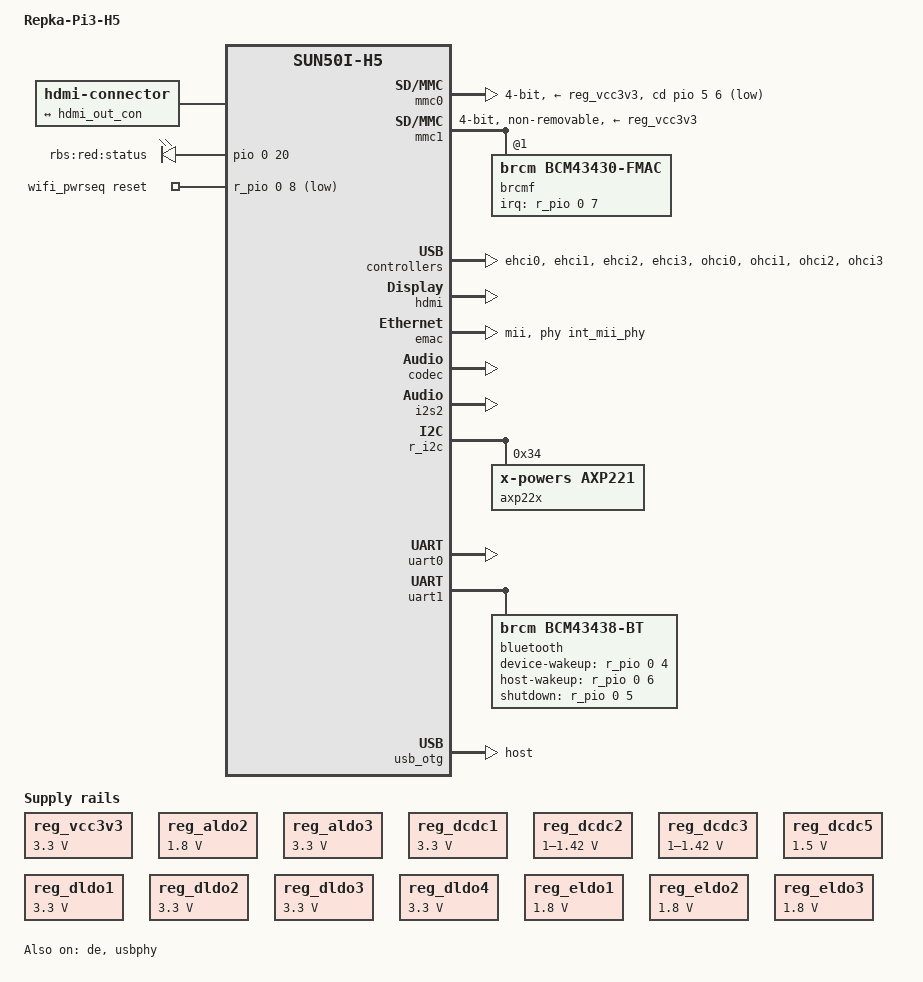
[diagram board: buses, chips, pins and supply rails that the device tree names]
// SPDX-License-Identifier: (GPL-2.0+ OR MIT)
// Copyright (C) 2016 ARM Ltd.

/dts-v1/;
#include "sun50i-h5.dtsi"
#include "sun50i-h5-repka-cpu-opp-1.368ghz.dtsi"

#include <dt-bindings/gpio/gpio.h>
#include <dt-bindings/input/input.h>
#include <dt-bindings/pinctrl/sun4i-a10.h>


/ {
	model = "Repka-Pi3-H5";
	option = "uboot";
	repka-freq = "1.368 GHz";
	repka-pinout = "1";
	repka-cooling = "1";
	compatible = "rbs,repka-pi3", "allwinner,sun50i-h5";

	reg_vcc3v3: vcc3v3 {
		compatible = "regulator-fixed";
		regulator-name = "vcc3v3";
		regulator-min-microvolt = <3300000>;
		regulator-max-microvolt = <3300000>;
	};

	aliases {
		ethernet0 = &emac;
		serial0 = &uart0;
		serial1 = &uart1;
		spi0 = &spi0;
		spi1 = &spi1;
		i2c1 = &i2c0;
		i2c2 = &i2c1;
		i2c3 = &r_i2c;
	};

	chosen {
		stdout-path = "serial0:115200n8";
	};

	connector {
		compatible = "hdmi-connector";
		type = "a";

		port {
			hdmi_con_in: endpoint {
				remote-endpoint = <&hdmi_out_con>;
			};
		};
	};

	leds {
		compatible = "gpio-leds";
		
		status {
			label = "rbs:red:status";
			gpios = <&pio 0 20 GPIO_ACTIVE_HIGH>;
			linux,default-trigger = "heartbeat";
		};
	};

	wifi_pwrseq: wifi_pwrseq {
		compatible = "mmc-pwrseq-simple";
		reset-gpios = <&r_pio 0 8 GPIO_ACTIVE_LOW>; 
		post-power-on-delay-ms = <255>;
	};

	scpi_protocol: scpi {
		compatible = "arm,scpi";
		mboxes = <&msgbox 2>, <&msgbox 3>;
		mbox-names = "tx", "rx";
		shmem = <&scpi_sram>;
	};

	sound_hdmi: sound_hdmi {
		compatible = "allwinner,sun9i-a80-hdmi-audio", "allwinner,sun8i-h3-hdmi-audio";
		status = "okay";
		codec {
			sound-dai = <&hdmi>;
		};
		cpu {
			sound-dai = <&i2s2>;
		};
	};

	///????
	tve: tv-encoder@1e40000 {
		compatible = "allwinner,sun50i-h5-tv-encoder";
		reg = <0x01e40000 0x1000>;
		clocks = <&ccu CLK_BUS_TVE>;
		resets = <&ccu RST_BUS_TVE>;
		status = "disabled";
		port {
			tve_in_tcon1: endpoint {
				remote-endpoint = <&tcon1_out_tve>;
			};
		};
	};

	soc {
		mixer1: mixer@1200000 {
			compatible = "allwinner,sun8i-h3-de2-mixer-1";
			reg = <0x01200000 0x100000>;
			clocks = <&display_clocks CLK_BUS_MIXER1>, <&display_clocks CLK_MIXER1>;
			clock-names = "bus", "mod";
			resets = <&display_clocks RST_MIXER1>;
			ports {
				#address-cells = <1>;
				#size-cells = <0>;
				mixer1_out: port@1 {
					#address-cells = <1>;
					#size-cells = <0>;
					reg = <1>;
					/delete-node/ endpoint;
					mixer1_out_tcon_0: endpoint@0 {
						reg = <0>;
						remote-endpoint = <&tcon0_in_mixer_1>;
					};

					mixer1_out_tcon_1: endpoint@1 {
						reg = <1>;
						remote-endpoint = <&tcon1_in_mixer_1>;
					};
				};	
			};
		}; //mixer1

		tcon1: lcd-controller@1c0d000 {
			compatible = "allwinner,sun8i-h3-tcon-tv", "allwinner,sun8i-a83t-tcon-tv";
			reg = <0x01c0d000 0x1000>;
			interrupts = <GIC_SPI 87 IRQ_TYPE_LEVEL_HIGH>;
			clocks = <&ccu CLK_BUS_TCON1>, <&ccu CLK_TVE>;
			clock-names = "ahb", "tcon-ch1";
			resets = <&ccu RST_BUS_TCON1>;
			reset-names = "lcd";
			ports {
				#address-cells = <1>;
				#size-cells = <0>;

				tcon1_in: port@0 {
					#address-cells = <1>;
					#size-cells = <0>;
					reg = <0>;

					tcon1_in_mixer_0: endpoint@0 {
						reg = <0>;
						remote-endpoint = <&mixer0_out_tcon_1>;
					};

					tcon1_in_mixer_1: endpoint@1 {
						reg = <1>;
						remote-endpoint = <&mixer1_out_tcon_1>;
					};
				};

				tcon1_out: port@1 {
					#address-cells = <1>;
					#size-cells = <0>;
					reg = <1>;

					tcon1_out_tve: endpoint@1 {
						reg = <1>;
						remote-endpoint = <&tve_in_tcon1>;
					};
				};
			};
		}; //tcon1i
	}; //soc
};


//
// SYSCON
//

&syscon {
	sram_a2: sram@40000 {
		compatible = "mmio-sram";
		reg = <0x00040000 0x14000>;
		#address-cells = <1>;
		#size-cells = <1>;
		ranges = <0 0x00040000 0x14000>;
		scpi_sram: scp-shmem@13c00 {
			compatible = "arm,scp-shmem";
			reg = <0x13c00 0x200>;
		};
	};
};


//
// MMCx
//

&mmc0 {
	vmmc-supply = <&reg_vcc3v3>;
	bus-width = <4>;
	cd-gpios = <&pio 5 6 GPIO_ACTIVE_LOW>; /* PF6 */
	status = "okay";
};

&mmc1 {
	vmmc-supply = <&reg_vcc3v3>;
	mmc-pwrseq = <&wifi_pwrseq>;
	bus-width = <4>;
	non-removable;
	status = "okay";
	brcmf: wifi@1 {
		reg = <1>;
		compatible = "brcm,bcm43430-fmac";
		interrupt-parent = <&r_pio>;
		interrupts = <0 7 IRQ_TYPE_LEVEL_LOW>;	/* PL7 */
		interrupt-names = "host-wake";
	};
};

&mmc2 {
	pinctrl-names = "default";
	pinctrl-0 = <&mmc2_8bit_pins>;
	vmmc-supply = <&reg_vcc3v3>;
	bus-width = <8>;
	non-removable;
	cap-mmc-hw-reset;
	status = "disabled";
};


//
// EHCIx
//

&ehci0 {
	status = "okay";
};

&ehci1 {
	status = "okay";
};

&ehci2 {
	status = "okay";
};

&ehci3 {
	status = "okay";
};


//
// OHCIx
//

&ohci0 {
	status = "okay";
};

&ohci1 {
	status = "okay";
};

&ohci2 {
	status = "okay";
};

&ohci3 {
	status = "okay";
};


//
// CPUx
//

&cpu_thermal {
	polling-delay-passive = <250>;
	polling-delay = <1000>;
};

&cpu_very_hot_trip {
	temperature = <95000>;
	hysteresis = <2000>;
};

&cpu0 {
	cpu-supply = <&reg_dcdc2>;
};

&cpu1 {
	cpu-supply = <&reg_dcdc2>;
};

&cpu2 {
	cpu-supply = <&reg_dcdc2>;
};

&cpu3 {
	cpu-supply = <&reg_dcdc2>;
};


//
// HDMI
//

&hdmi {
	#sound-dai-cells = <0>;
	clocks = <&ccu CLK_BUS_HDMI>, <&ccu CLK_HDMI_DDC>, <&ccu CLK_HDMI>;
	status = "okay";
};

&hdmi_out {
	hdmi_out_con: endpoint {
		remote-endpoint = <&hdmi_con_in>;
	};
};


//
// ETHERNET
//

&emac {
	phy-handle = <&int_mii_phy>;
	phy-mode = "mii";
	allwinner,leds-active-low;
	status = "okay";
};


//
//
//

&tcon0_in {
	#address-cells = <1>;
	#size-cells = <0>;
	/delete-node/ endpoint;
	tcon0_in_mixer_0: endpoint@0 {
		reg = <0>;
		remote-endpoint = <&mixer0_out_tcon_0>;
	};
					
	tcon0_in_mixer_1: endpoint@1 {
		reg = <1>;
		remote-endpoint = <&mixer1_out_tcon_0>;
	};
};

&tcon0_out {
	#address-cells = <1>;
	#size-cells = <0>;
};


&mixer0_out {
	#address-cells = <1>;
	#size-cells = <0>;
	/delete-node/ endpoint;
	mixer0_out_tcon_0: endpoint@0 {
		reg = <0>;
		remote-endpoint = <&tcon0_in_mixer_0>;
	};
	mixer0_out_tcon_1: endpoint@1 {
		reg = <1>;
		remote-endpoint = <&tcon1_in_mixer_0>;
	};
};

&csi_pins {
	pins = "PE0", "PE1", "PE2", "PE3", "PE4", "PE5", "PE6", "PE7", "PE8", "PE9", "PE10", "PE11";
};

&mbus {
	compatible = "allwinner,sun8i-h3-mbus";
	reg = <0x01c62000 0x1000>;
	clocks = <&ccu CLK_MBUS>;
	/delete-property/ reg-names;
	/delete-property/ clock-names;
};

&csi {
	compatible = "allwinner,sun8i-h3-csi", "allwinner,sun6i-a31-csi";
};

&r_intc {
	compatible = "allwinner,sun50i-a64-r-intc", "allwinner,sun6i-a31-r-intc";
	#interrupt-cells = <2>;
};


//
//
//

&codec {
	allwinner,audio-routing =
		"Line Out", "LINEOUT",
		"MIC1", "Mic",
		"Mic",  "MBIAS";
	status = "okay";
};


&de {
	allwinner,pipelines = <&mixer0>, <&mixer1>;
	status = "okay";
};

&i2s2 {
	status = "okay";
};

&ir {
	pinctrl-names = "default";
	pinctrl-0 = <&r_ir_rx_pin>;
};

&r_i2c {
	status = "okay";

	axp22x: pmic@34 {
		compatible = "x-powers,axp221";
		reg = <0x34>;
		interrupt-parent = <&r_intc>;
		interrupts = <0 IRQ_TYPE_LEVEL_LOW>;
	};
};

/*
 * 
 * 
 *     ^__________^
* 
*
*/

&spi0 {
	pinctrl-names = "default", "default";
	pinctrl-1 = <&spi0_cs1>;
	cs-gpios = <0>, <&pio 0 3 0>; /* PA3 */

	status = "disabled";
	spidev@0 {
		compatible = "rohm,dh2228fv";  /* костыль, так как теперь"spidev" нет в драйвере ядра (spidev.c) */
		status = "okay";
		reg = <0>;
		spi-max-frequency = <1000000>;
	};
	spidev@1 {
		compatible = "rohm,dh2228fv";  /* костыль, так как теперь"spidev" нет в драйвере ядра (spidev.c) */
		status = "okay";
		reg = <1>;
		spi-max-frequency = <1000000>;
	};
	
};

&spi1 {
	pinctrl-names = "default", "default";
        
        status = "disabled";
	spidev@0 {
		compatible = "rohm,dh2228fv";
		status = "okay";
		reg = <0>;
		spi-max-frequency = <1000000>;
       };
};

&pio {
	i2s1_pins: i2s1-pins {
		pins = "PG10", "PG11", "PG12", "PG13";
		function = "i2s1";
	};

	spi0_cs1: spi0_cs1 {		/* для совместимости с распбери создаем cs1 */
		pins = "PA3";
		function = "gpio_out";
		output-high;
	};
};


&r_pwm {
	status = "disabled";
};

/* to debag serial */
&uart0 {
	pinctrl-names = "default";
	pinctrl-0 = <&uart0_pa_pins>;
	status = "okay";
	dma-names = "rx", "tx";
};

/* to bt-wifi module */
&uart1 {
	pinctrl-names = "default";
	pinctrl-0 = <&uart1_pins>, <&uart1_rts_cts_pins>;
	dma-names = "rx", "tx";
	uart-has-rtscts;
	status = "okay";
	bluetooth {
		compatible = "brcm,bcm43438-bt";
		clocks = <&rtc 1>;
		clock-names = "lpo";
		device-wakeup-gpios = <&r_pio 0 4 GPIO_ACTIVE_HIGH>; /* PL4 AP-WAKE-BT */
		host-wakeup-gpios = <&r_pio 0 6 GPIO_ACTIVE_HIGH>; /* PL6 BT-WAKE-AP */
		shutdown-gpios = <&r_pio 0 5 GPIO_ACTIVE_HIGH>; /* PL5 BT-RST-N */
		max-speed = <1500000>; 
	};
};

&uart2 {
	pinctrl-names = "default";
	pinctrl-0 = <&uart2_pins>, <&uart2_rts_cts_pins>;
	dma-names = "rx", "tx";
};

&uart3 {
	dma-names = "rx", "tx";
};

&usb_otg {
	dr_mode = "host";
	status = "okay";
};

&usbphy {
	status = "okay";
};


//
// Power Management
//

#include "axp22x.dtsi"

&ac_power_supply {
	status = "okay";
};

&reg_aldo2 {			/* VCC-PG 1.8 */
	regulator-always-on;
	regulator-min-microvolt = <1800000>;
	regulator-max-microvolt = <1800000>;
	regulator-name = "vcc-pg";
};

&reg_aldo3 {
	regulator-always-on;
	regulator-min-microvolt = <3300000>;
	regulator-max-microvolt = <3300000>;
	regulator-name = "vcc-pll-avcc";
};

&reg_dc1sw {
	regulator-name = "vcc-phy";
};

&reg_dcdc1 {
	regulator-always-on;
	regulator-min-microvolt = <3300000>;
	regulator-max-microvolt = <3300000>;
	regulator-name = "vcc-3v3";
};

&reg_dcdc2 {
	regulator-always-on;
	regulator-min-microvolt = <1000000>;
	regulator-max-microvolt = <1420000>; 
	regulator-name = "vdd-cpux-a";
};

&reg_dcdc3 {
	regulator-always-on;
	regulator-min-microvolt = <1000000>;
	regulator-max-microvolt = <1420000>;
	regulator-name = "vdd-cpux-b";
};

/* DCDC3 is polyphased with DCDC2 */

/*
 * The DRAM chips used by rbs-h5 boards are DDR3 -compatibl
 * 
 */
&reg_dcdc5 {
	regulator-always-on;
	regulator-min-microvolt = <1500000>;
	regulator-max-microvolt = <1500000>;
	regulator-name = "vcc-dram";
};

&reg_dldo1 {
	regulator-always-on;
	regulator-min-microvolt = <3300000>;
	regulator-max-microvolt = <3300000>;
	regulator-name = "vcc-wifi-1";
};

&reg_dldo2 {
	regulator-always-on;
	regulator-min-microvolt = <3300000>;
	regulator-max-microvolt = <3300000>;
	regulator-name = "vcc-wifi-2";
};

&reg_dldo3 {
	regulator-always-on;
	regulator-min-microvolt = <3300000>;
	regulator-max-microvolt = <3300000>;
	regulator-name = "vcc-wifi-3";
};

&reg_dldo4 {
	regulator-always-on;
	regulator-min-microvolt = <3300000>;
	regulator-max-microvolt = <3300000>;
	regulator-name = "vcc-wifi-4";
};
			/* VCC-wifi-IO 1.8 */
&reg_eldo1 {
	regulator-always-on;
	regulator-min-microvolt = <1800000>;
	regulator-max-microvolt = <1800000>;
	regulator-name = "vcc-wifi-io-1";
};

&reg_eldo2 {
	regulator-always-on;
	regulator-min-microvolt = <1800000>;
	regulator-max-microvolt = <1800000>;
	regulator-name = "vcc-wifi-io-2";
};

&reg_eldo3 {
	regulator-always-on;
	regulator-min-microvolt = <1800000>;
	regulator-max-microvolt = <1800000>;
	regulator-name = "vcc-wifi-io-3";
};

&reg_rtc_ldo {
	regulator-name = "vcc-rtc";
};


